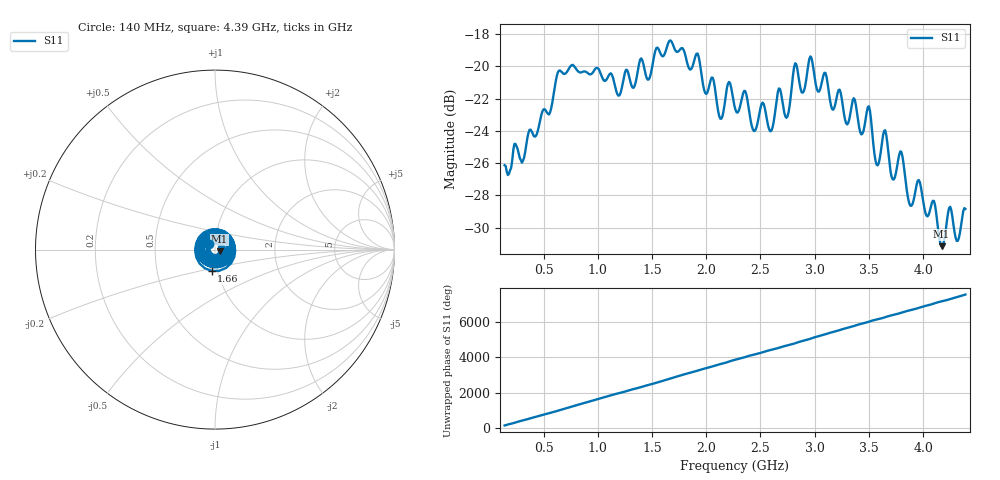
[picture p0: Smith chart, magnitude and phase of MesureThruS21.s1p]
! 140 4400 10
# MHz S MA R 50.0
!freq ReS11 ImS11
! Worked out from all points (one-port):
!   426 points, 140 MHz to 4.39 GHz, reference 50 ohm
!   lowest |S11| = -31.2 dB at 4.17 GHz (marker M1), VSWR 1.06, Z = 52.6 - j1.09 ohm
!   |S11| at or under -10 dB: start of sweep to end of sweep
!   S11 on the Smith chart (normalised r, x): 140 MHz: 0.93, +0.06; 1.66 GHz: 0.94, -0.23; 4.39 GHz: 1.07, +0.00
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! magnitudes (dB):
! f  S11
! 140 MHz  -26.1
! 310 MHz  -25.8
! 680 MHz  -20.4
! 1.21 GHz  -21.6
! 1.66 GHz  -18.4
! 1.74 GHz  -19.1
! 1.92 GHz  -19.2
! 2.13 GHz  -23.2
! 2.21 GHz  -21.0
! 2.27 GHz  -22.7
! 2.6 GHz  -24.0
! 2.67 GHz  -21.4
! 2.75 GHz  -23.1
! 2.8 GHz  -20.5
! 2.89 GHz  -21.6
! 2.96 GHz  -19.4
! 3.33 GHz  -22.9
! 3.5 GHz  -22.5
! 3.58 GHz  -26.1
! 3.65 GHz  -24.0
! 3.72 GHz  -27.0
! 3.8 GHz  -25.3
! 3.86 GHz  -28.1
! 3.96 GHz  -27.0
! 4.17 GHz  -31.2
! 4.24 GHz  -28.8
! 4.32 GHz  -30.8
! 4.39 GHz  -28.8
